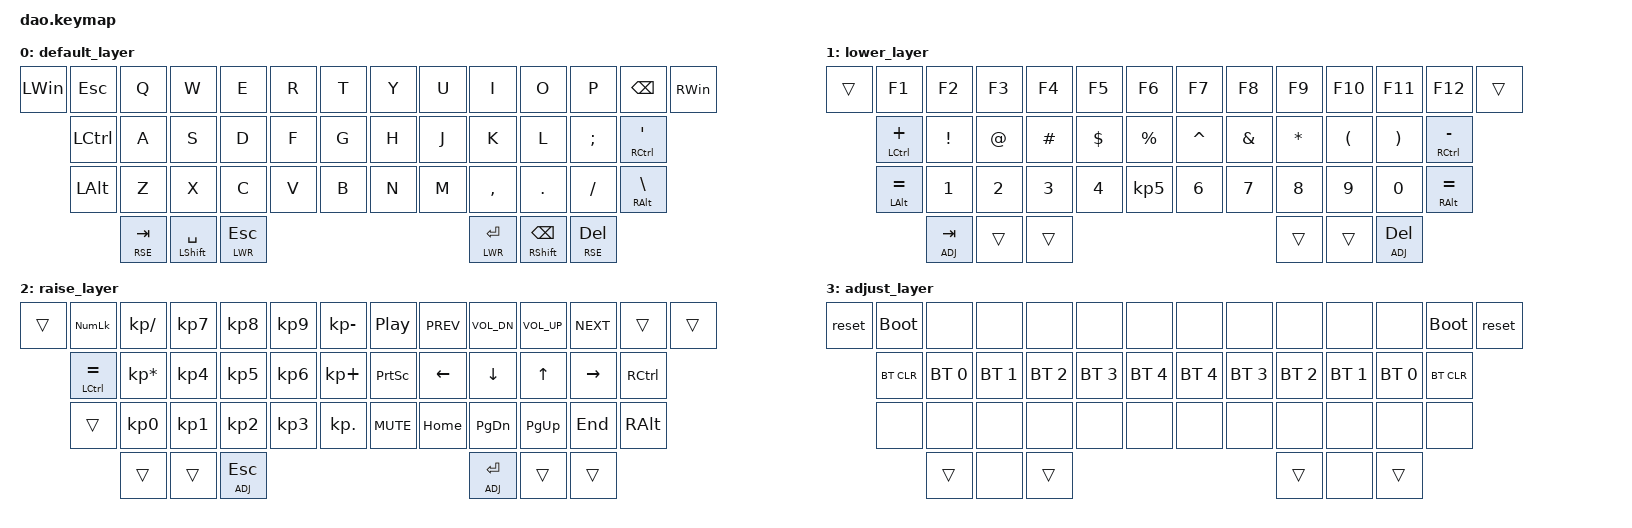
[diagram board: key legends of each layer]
/*
 * Copyright (c) 2021 Rafael Yumagulov
 *
 * SPDX-License-Identifier: MIT
 */

#include <behaviors.dtsi>
#include <dt-bindings/zmk/keys.h>
#include <dt-bindings/zmk/bt.h>

#define DEF 0
#define LWR 1
#define RSE 2
#define ADJ 3

&lt { quick_tap_ms = <220>; };
&mt { quick_tap_ms = <220>; };

/ {
        keymap {
                compatible = "zmk,keymap";

                default_layer {
// -----------------------------------------------------------------------------------------
// |  GUI |   ~  |  Q  |  W  |  E  |  R  |  T  |   |  Y  |  U   |  I  |  O  |  P  |  [   | GUI/] |
//        | CTRL |  A  |  S  |  D  |  F  |  G  |   |  H  |  J   |  K  |  L  |  ;  |CTRL/'|
//        | LALT |  Z  |  X  |  C  |  V  |  B  |   |  N  |  M   |  ,  |  .  |  /  | RALT |
//                           | RSE | SPC | LWR |   | LWR | BKSP | RSE |
                        bindings = <
   &kp LWIN &kp ESC   &kp Q &kp W &kp E &kp R &kp T &kp Y         &kp U  &kp I     &kp O   &kp P    &kp BSPC      &kp RWIN
            &kp LCTRL &kp A &kp S &kp D &kp F &kp G &kp H         &kp J  &kp K     &kp L   &kp SEMI &mt RCTRL SQT
            &kp LALT  &kp Z &kp X &kp C &kp V &kp B &kp N         &kp M  &kp COMMA &kp DOT &kp FSLH &mt RALT BSLH
                         &lt RSE TAB &mt LSHFT SPACE &lt LWR ESC &lt LWR RET &mt RSHFT BSPC &lt RSE DEL
                        >;
                };
                lower_layer {
// -----------------------------------------------------------------------------------------
// |     |  _  |  F1 |  F2 |  F3 |  F4 |  F5 |   |  F6 |  F7 |  F8 |  F9 | F10 | F11 | F12 |
//       |  +  |  !  |  @  |  #  |  $  |  %  |   |  ^  |  &  |  *  |  (  |  )  |  -  |
//       |  =  |  1  |  2  |  3  |  4  |  5  |   |  6  |  7  |  8  |  9  |  0  |     |
//                    | GUI |     | SPC |   | ENT |     | ALT |
                        bindings = <
   &trans &kp F1         &kp F2   &kp F3 &kp F4   &kp F5   &kp F6               &kp F7    &kp F8   &kp F9   &kp F10  &kp F11  &kp F12         &trans
          &mt LCTRL PLUS &kp EXCL &kp AT &kp HASH &kp DLLR &kp PRCNT            &kp CARET &kp AMPS &kp STAR &kp LPAR &kp RPAR &mt RCTRL MINUS
          &mt LALT EQUAL &kp N1   &kp N2 &kp N3   &kp N4   &kp KP_N5            &kp N6    &kp N7   &kp N8   &kp N9   &kp N0   &mt RALT EQUAL
          &lt ADJ TAB &trans &trans                                             &trans &trans &lt ADJ DEL
                        >;
                };

                raise_layer {
// -----------------------------------------------------------------------------------------
// |     | NMLK |  /  |  7  |  8  |  9  |  -  |   | VOLU| HOME| PRSC| PGUP| SCLK| CLCK|     |
//       | CTRL |  *  |  4  |  5  |  6  |  +  |   | MUT | LEFT|  UP | RGHT| INS | APP |
//       |      |  0  |  1  |  2  |  3  |  .  |   | VOLD| END | DOWN| PGDN| PAUS|     |
//                          |     |     | ADJ |   | ADJ |     |     |
                        bindings = <
   &trans &kp KP_NUM      &kp KP_SLASH    &kp KP_N7 &kp KP_N8 &kp KP_N9 &kp KP_MINUS        &kp C_PP   &kp C_PREV &kp C_VOL_DN &kp C_VOL_UP &kp C_NEXT &trans    &trans
          &mt LCTRL EQUAL &kp KP_MULTIPLY &kp KP_N4 &kp KP_N5 &kp KP_N6 &kp KP_PLUS         &kp PSCRN  &kp LEFT   &kp DOWN     &kp UP       &kp RIGHT  &kp RCTRL
          &trans          &kp KP_N0       &kp KP_N1 &kp KP_N2 &kp KP_N3 &kp KP_DOT          &kp C_MUTE &kp HOME   &kp PG_DN    &kp PG_UP    &kp END    &kp RALT
          &trans &trans &lt ADJ ESC                                                         &lt ADJ RET &trans &trans
                        >;
                };
                adjust_layer {
// -----------------------------------------------------------------------------------------
// | RST | BLDR |     |     |     |     |     |   |     |     |     |     |     | BLDR | RST |
//       | BTCLR| BT0 | BT1 | BT2 | BT3 | BT4 |   | BT4 | BT3 | BT2 | BT1 | BT0 | BTCLR|
//       |      |     |     |     |     |     |   |     |     |     |     |     |      |
//                          |     |     |     |   |     |     |     |
                        bindings = <
   &reset &bootloader  &none        &none        &none        &none        &none              &none        &none        &none        &none        &none         &bootloader &reset
          &bt BT_CLR   &bt BT_SEL 0 &bt BT_SEL 1 &bt BT_SEL 2 &bt BT_SEL 3 &bt BT_SEL 4       &bt BT_SEL 4 &bt BT_SEL 3 &bt BT_SEL 2 &bt BT_SEL 1 &bt BT_SEL 0  &bt BT_CLR
          &none        &none        &none        &none        &none        &none              &none        &none        &none        &none        &none         &none
                                                                    &trans &none &trans   &trans &none &trans
                        >;
                };
        };
};
